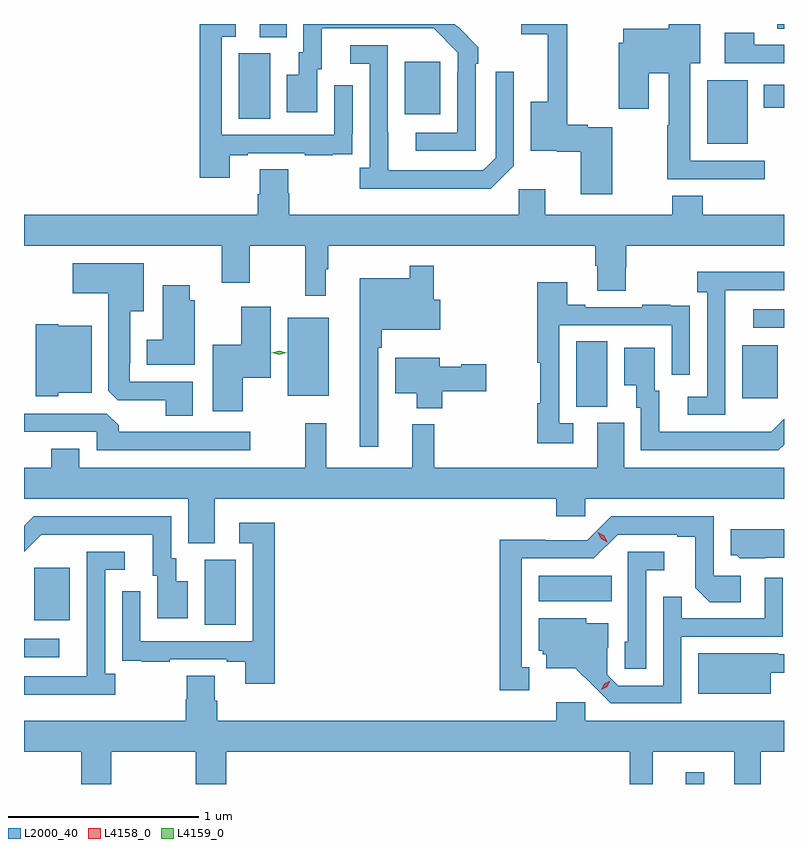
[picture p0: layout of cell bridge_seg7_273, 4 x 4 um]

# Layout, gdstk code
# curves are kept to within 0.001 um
import gdstk
lib = gdstk.Library(unit=1e-6, precision=1e-09)
def R(c, l, rs):  # rectangles x0, y0, x1, y1
    for r in rs: c.add(gdstk.rectangle(r[:2], r[2:], *l))
def P(c, l, *ps):  # polygons
    for p in ps: c.add(gdstk.Polygon(p, *l))
L2000_40 = (2000, 40)
L4158_0 = (4158, 0)
L4159_0 = (4159, 0)

bridge_seg7_273 = lib.new_cell('bridge_seg7_273')
R(bridge_seg7_273, L2000_40, [(133.04,1076.371,133.138,1076.434), (129.557,1077.039,129.742,1077.135), (130.508,1077.208,130.672,1077.552), (129.611,1077.233,129.799,1077.508), (132.266,1077.332,132.65,1077.466), (132.464,1078.357,132.628,1078.7), (133.337,1078.401,133.525,1078.681), (130.946,1078.415,131.161,1078.825), (133.395,1078.773,133.557,1078.869), (133.154,1079.741,133.366,1080.076), (130.688,1079.872,130.852,1080.216), (131.561,1079.897,131.749,1080.172), (133.451,1079.93,133.557,1080.052), (130.799,1080.301,130.939,1080.371), (133.522,1080.346,133.557,1080.371)])
P(bridge_seg7_273, L2000_40, [(131.934,1080.161),(131.949,1080.161),(131.949,1080.249),(131.844,1080.354),(131.843,1080.353),(131.825,1080.371),(131.028,1080.371),(131.028,1080.222),(131.003,1080.222),(131.003,1080.103),(130.94,1080.103),(130.94,1079.907),(131.101,1079.907),(131.101,1080.132),(131.125,1080.132),(131.125,1080.348),(131.713,1080.348),(131.841,1080.219),(131.841,1080.119),(131.838,1080.119),(131.838,1079.799),(131.619,1079.799),(131.619,1079.703),(131.934,1079.703)],
  [(132.654,1079.827),(132.525,1079.827),(132.525,1079.84),(132.416,1079.84),(132.416,1080.371),(132.174,1080.371),(132.174,1080.318),(132.314,1080.318),(132.314,1079.962),(132.224,1079.962),(132.224,1079.705),(132.36,1079.705),(132.36,1079.698),(132.488,1079.698),(132.488,1079.475),(132.654,1079.475)],
  [(130.639,1079.679),(130.735,1079.679),(130.735,1079.691),(131.035,1079.691),(131.035,1079.679),(131.183,1079.679),(131.183,1079.685),(131.285,1079.685),(131.285,1079.794),(131.286,1079.794),(131.286,1080.049),(131.19,1080.049),(131.19,1079.787),(130.599,1079.787),(130.599,1080.303),(130.672,1080.303),(130.672,1080.371),(130.483,1080.371),(130.483,1079.562),(130.639,1079.562)],
  [(133.456,1079.652),(133.063,1079.652),(133.063,1080.164),(133.117,1080.164),(133.117,1080.371),(132.95,1080.371),(132.95,1080.346),(132.71,1080.346),(132.71,1080.273),(132.686,1080.273),(132.686,1079.925),(132.844,1079.925),(132.844,1080.113),(132.95,1080.113),(132.95,1079.837),(132.943,1079.837),(132.943,1079.555),(133.456,1079.555)],
  [(133.557,1080.261),(133.401,1080.261),(133.401,1080.325),(133.245,1080.325),(133.245,1080.165),(133.557,1080.165)],
  [(132.135,1079.625),(132.135,1080.121),(132.039,1080.121),(132.039,1079.667),(131.973,1079.601),(131.473,1079.601),(131.472,1080.258),(131.274,1080.258),(131.274,1080.162),(131.376,1080.162),(131.376,1079.614),(131.325,1079.614),(131.325,1079.504),(132.014,1079.504)],
  [(130.952,1079.481),(130.947,1079.481),(130.947,1079.606),(130.799,1079.606),(130.799,1079.474),(130.787,1079.474),(130.787,1079.368),(129.557,1079.368),(129.557,1079.204),(130.598,1079.204),(130.598,1079.01),(130.746,1079.01),(130.746,1079.204),(131.037,1079.204),(131.037,1078.941),(131.146,1078.941),(131.146,1079.081),(131.158,1079.081),(131.158,1079.204),(132.563,1079.204),(132.563,1079.098),(132.575,1079.098),(132.575,1078.966),(132.723,1078.966),(132.723,1079.091),(132.728,1079.091),(132.728,1079.204),(133.557,1079.204),(133.557,1079.368),(133.13,1079.368),(133.13,1079.467),(132.97,1079.467),(132.97,1079.368),(132.301,1079.368),(132.301,1079.5),(132.162,1079.5),(132.162,1079.368),(130.952,1079.368)],
  [(130.444,1078.488),(130.113,1078.488),(130.113,1078.585),(130.117,1078.585),(130.117,1078.859),(130.186,1078.859),(130.186,1079.113),(129.813,1079.113),(129.813,1078.955),(130.001,1078.955),(130.001,1078.441),(130.05,1078.392),(130.304,1078.392),(130.304,1078.309),(130.444,1078.309)],
  [(131.421,1078.667),(131.441,1078.667),(131.441,1078.763),(131.749,1078.763),(131.749,1078.921),(131.714,1078.921),(131.714,1079.098),(131.586,1079.098),(131.586,1079.032),(131.324,1079.032),(131.324,1078.146),(131.421,1078.146)],
  [(133.248,1078.971),(133.557,1078.971),(133.557,1079.068),(133.101,1079.068),(133.101,1078.958),(133.152,1078.958),(133.152,1078.41),(133.05,1078.41),(133.05,1078.314),(133.248,1078.314)],
  [(132.448,1078.269),(132.375,1078.269),(132.375,1078.785),(132.966,1078.785),(132.966,1078.524),(133.062,1078.524),(133.062,1078.778),(133.061,1078.778),(133.061,1078.887),(132.959,1078.887),(132.959,1078.894),(132.811,1078.894),(132.811,1078.881),(132.511,1078.881),(132.511,1078.894),(132.415,1078.894),(132.415,1079.011),(132.259,1079.011),(132.259,1078.587),(132.274,1078.587),(132.274,1078.376),(132.259,1078.376),(132.259,1078.164),(132.448,1078.164)],
  [(130.456,1078.917),(130.429,1078.917),(130.429,1078.996),(130.286,1078.996),(130.286,1078.708),(130.202,1078.708),(130.202,1078.577),(130.456,1078.577)],
  [(130.708,1078.508),(130.855,1078.508),(130.855,1078.882),(130.7,1078.882),(130.7,1078.684),(130.55,1078.684),(130.55,1078.332),(130.708,1078.332)],
  [(129.738,1078.43),(129.913,1078.43),(129.913,1078.783),(129.738,1078.783),(129.738,1078.792),(129.62,1078.792),(129.62,1078.412),(129.738,1078.412)],
  [(133.557,1078.157),(133.557,1078.293),(133.489,1078.225),(132.901,1078.224),(132.901,1078.44),(132.877,1078.44),(132.877,1078.666),(132.716,1078.666),(132.716,1078.469),(132.779,1078.469),(132.779,1078.35),(132.804,1078.35),(132.804,1078.128),(133.528,1078.128)],
  [(131.759,1078.438),(131.989,1078.438),(131.989,1078.58),(131.859,1078.58),(131.859,1078.567),(131.746,1078.567),(131.746,1078.615),(131.51,1078.615),(131.51,1078.427),(131.624,1078.427),(131.624,1078.349),(131.759,1078.349)],
  [(130.747,1078.224),(130.055,1078.224),(130.055,1078.258),(129.993,1078.32),(129.557,1078.32),(129.557,1078.224),(129.939,1078.224),(129.939,1078.128),(130.747,1078.128)],
  [(130.561,1077.872),(132.359,1077.872),(132.359,1077.779),(132.51,1077.779),(132.51,1077.872),(133.557,1077.872),(133.557,1078.036),(132.715,1078.036),(132.715,1078.272),(132.575,1078.272),(132.575,1078.036),(131.717,1078.036),(131.717,1078.264),(131.6,1078.264),(131.6,1078.036),(131.147,1078.036),(131.147,1078.27),(131.037,1078.27),(131.037,1078.036),(129.847,1078.036),(129.847,1078.135),(129.7,1078.135),(129.7,1078.036),(129.557,1078.036),(129.557,1077.872),(130.421,1077.872),(130.421,1077.637),(130.561,1077.637)],
  [(130.42,1077.439),(130.357,1077.439),(130.357,1077.558),(130.332,1077.558),(130.332,1077.78),(129.608,1077.78),(129.557,1077.729),(129.557,1077.593),(129.648,1077.684),(130.235,1077.684),(130.235,1077.468),(130.259,1077.468),(130.259,1077.243),(130.42,1077.243)],
  [(132.217,1076.985),(132.178,1076.985),(132.178,1077.558),(132.555,1077.558),(132.681,1077.684),(132.995,1077.684),(132.995,1077.672),(133.089,1077.672),(133.089,1077.404),(133.165,1077.328),(133.33,1077.328),(133.33,1077.468),(133.188,1077.468),(133.188,1077.78),(132.648,1077.78),(132.522,1077.654),(132.3,1077.654),(132.3,1077.656),(132.06,1077.656),(132.06,1076.865),(132.217,1076.865)],
  [(130.877,1077.745),(130.689,1077.745),(130.689,1077.639),(130.761,1077.639),(130.761,1077.123),(130.17,1077.123),(130.17,1077.385),(130.074,1077.385),(130.074,1077.13),(130.075,1077.13),(130.075,1077.021),(130.177,1077.021),(130.177,1077.015),(130.325,1077.015),(130.325,1077.027),(130.625,1077.027),(130.625,1077.015),(130.721,1077.015),(130.721,1076.898),(130.877,1076.898)],
  [(133.458,1077.561),(133.557,1077.561),(133.557,1077.712),(133.277,1077.712),(133.277,1077.576),(133.308,1077.576),(133.324,1077.56),(133.458,1077.56)],
  [(132.831,1077.497),(132.928,1077.497),(132.928,1077.594),(132.735,1077.594),(132.735,1077.12),(132.72,1077.12),(132.72,1076.977),(132.831,1076.977)],
  [(130.036,1076.95),(129.984,1076.95),(129.984,1077.498),(130.087,1077.498),(130.087,1077.594),(129.888,1077.594),(129.888,1077.137),(129.887,1077.137),(129.887,1076.937),(129.557,1076.937),(129.557,1076.84),(130.036,1076.84)],
  [(133.017,1077.147),(133.551,1077.147),(133.551,1077.457),(133.455,1077.457),(133.455,1077.243),(133.019,1077.243),(133.019,1077.356),(132.921,1077.356),(132.921,1076.889),(132.684,1076.889),(132.627,1076.946),(132.627,1077.088),(132.631,1077.088),(132.631,1077.217),(132.516,1077.217),(132.516,1077.244),(132.266,1077.244),(132.266,1077.072),(132.288,1077.072),(132.288,1077.054),(132.305,1077.054),(132.305,1076.981),(132.457,1076.981),(132.644,1076.796),(133.017,1076.796)],
  [(133.486,1076.957),(133.557,1076.957),(133.557,1077.054),(133.526,1077.054),(133.526,1077.058),(133.106,1077.058),(133.106,1076.846),(133.486,1076.846)],
  [(130.017,1076.54),(130.462,1076.54),(130.462,1076.371),(130.622,1076.371),(130.622,1076.54),(132.744,1076.54),(132.744,1076.371),(132.865,1076.371),(132.865,1076.54),(133.295,1076.54),(133.295,1076.371),(133.435,1076.371),(133.435,1076.54),(133.557,1076.54),(133.557,1076.704),(132.51,1076.704),(132.51,1076.8),(132.359,1076.8),(132.359,1076.704),(130.574,1076.704),(130.574,1076.81),(130.561,1076.81),(130.561,1076.942),(130.414,1076.942),(130.414,1076.817),(130.409,1076.817),(130.409,1076.704),(129.557,1076.704),(129.557,1076.54),(129.857,1076.54),(129.857,1076.371),(130.017,1076.371)])
P(bridge_seg7_273, L4158_0, [(132.594,1076.868),(132.594,1076.868),(132.612,1076.898),(132.642,1076.914),(132.643,1076.914),(132.643,1076.914),(132.626,1076.884),(132.595,1076.868)],
  [(132.627,1077.644),(132.596,1077.663),(132.578,1077.695),(132.578,1077.695),(132.578,1077.695),(132.61,1077.677),(132.628,1077.644),(132.628,1077.644)])
P(bridge_seg7_273, L4159_0, [(130.9,1078.631),(130.86,1078.641),(130.86,1078.641),(130.86,1078.641),(130.9,1078.651),(130.94,1078.641),(130.94,1078.641),(130.94,1078.641)])

lib.write_gds('bridge_seg7_273.gds')
